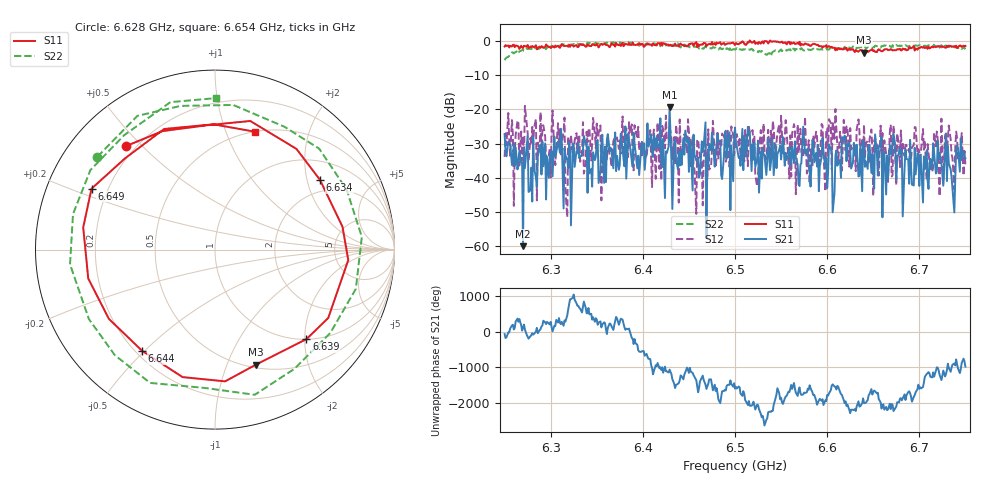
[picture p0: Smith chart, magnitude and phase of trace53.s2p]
# Hz S RI R 50
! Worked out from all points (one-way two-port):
!   401 points, 6.25 GHz to 6.75 GHz, reference 50 ohm
!   highest |S21| = -19.28 dB at 6.429 GHz (marker M1); lowest = -60.0 dB at 6.27 GHz (marker M2)
!   lowest |S11| = -3.3 dB at 6.64 GHz (marker M3), VSWR 5.25, Z = 26.7 - j63.7 ohm
!   |S11| at or under -10 dB: nowhere
!   |S22| runs from -5.6 to -0.2 dB; largest |S21 - S12| = 0.12
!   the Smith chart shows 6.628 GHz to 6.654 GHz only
!   S11 on the Smith chart (normalised r, x): 6.628 GHz: 0.16, +0.45; 6.634 GHz: 1.57, +2.40; 6.639 GHz: 1.00, -2.04; 6.644 GHz: 0.23, -0.49; 6.649 GHz: 0.14, +0.23; 6.654 GHz: 0.50, +1.27
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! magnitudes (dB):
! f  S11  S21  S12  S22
! 6.25 GHz  -1.5  -27.1  -33.9  -5.6
! 6.27 GHz  -2.0  -60.0  -27.8  -2.4
! 6.334 GHz  -1.1  -33.5  -32.4  -1.0
! 6.342 GHz  -1.4  -38.7  -25.4  -0.5
! 6.418 GHz  -0.6  -31.0  -37.4  -0.8
! 6.429 GHz  -1.3  -19.3  -25.6  -0.8
! 6.448 GHz  -1.5  -29.5  -32.8  -1.5
! 6.455 GHz  -1.3  -27.4  -36.8  -1.7
! 6.5 GHz  -1.1  -25.3  -30.9  -2.4
! 6.584 GHz  -0.9  -28.9  -36.8  -2.4
! 6.628 GHz  -2.4  -35.6  -31.0  -1.6
! 6.634 GHz  -3.1  -39.6  -22.9  -1.8
! 6.639 GHz  -2.9  -29.1  -34.6  -2.0
! 6.64 GHz  -3.3  -30.2  -24.4  -2.0
! 6.644 GHz  -3.2  -37.4  -29.2  -1.7
! 6.649 GHz  -2.3  -33.0  -31.4  -1.8
! 6.654 GHz  -3.2  -32.9  -30.7  -1.5
! 6.668 GHz  -2.5  -30.5  -26.7  -1.4
! 6.724 GHz  -1.7  -35.6  -22.7  -1.2
! 6.73 GHz  -1.5  -40.9  -32.8  -1.5
! 6.736 GHz  -1.6  -43.3  -34.2  -1.7
! 6.75 GHz  -1.4  -34.3  -36.1  -2.3
